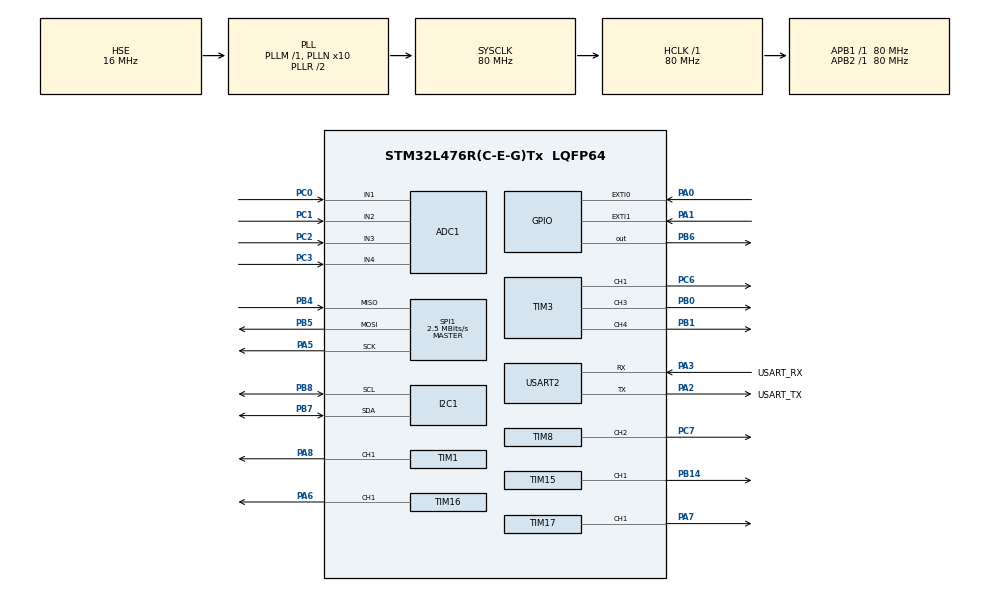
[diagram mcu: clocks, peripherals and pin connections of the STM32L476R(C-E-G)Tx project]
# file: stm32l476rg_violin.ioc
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Dma.ADC1.4.Priority=DMA_PRIORITY_LOW
VP_SYS_VS_tim6.Mode=TIM6
VP_TIM17_VS_ClockSourceINT.Mode=Enable_Timer
FATFS._USE_LFN=3
SPI1.VirtualType=VM_MASTER
NVIC.TIM6_DAC_IRQn=true\:0\:0\:false\:false\:true\:false\:false\:true
FREERTOS.Events01=xEmbeddedViolinEventGroup,Dynamic,NULL
PA3.GPIO_PuPd=GPIO_NOPULL
PC15-OSC32_OUT\ (PC15).Mode=LSE-External-Oscillator
PA3.GPIO_Speed=GPIO_SPEED_FREQ_VERY_HIGH
Dma.ADC1.4.PeriphInc=DMA_PINC_DISABLE
TIM3.Channel-PWM\ Generation4\ CH4=TIM_CHANNEL_4
RCC.SYSCLKSource=RCC_SYSCLKSOURCE_PLLCLK
PC14-OSC32_IN\ (PC14).Mode=LSE-External-Oscillator
NVIC.DMA1_Channel3_IRQn=true\:5\:0\:false\:false\:true\:true\:false\:true
PA14\ (JTCK-SWCLK).Signal=SYS_JTCK-SWCLK
NVIC.EXTI1_IRQn=true\:5\:0\:false\:false\:true\:true\:true\:true
ADC1.Channel-5\#ChannelRegularConversion=ADC_CHANNEL_4
SPI1.Direction=SPI_DIRECTION_2LINES
RCC.APB2TimFreq_Value=80000000
PB6.Signal=GPIO_Output
ADC1.Channel-2\#ChannelRegularConversion=ADC_CHANNEL_2
PC7.Signal=S_TIM8_CH2
SPI1.CalculateBaudRate=2.5 MBits/s
PC3.Signal=ADCx_IN4
Dma.ADC1.4.Instance=DMA1_Channel1
PA1.GPIO_PuPd=GPIO_PULLUP
RCC.PREFETCH_ENABLE=1
Dma.TIM8_CH2.3.MemInc=DMA_MINC_ENABLE
TIM17.Channel=TIM_CHANNEL_1
TIM1.Channel-PWM\ Generation1\ CH1=TIM_CHANNEL_1
Dma.TIM8_CH2.3.Direction=DMA_MEMORY_TO_PERIPH
Dma.TIM3_CH1/TRIG.0.Priority=DMA_PRIORITY_LOW
SPI1.DataSize=SPI_DATASIZE_8BIT
PA8.Signal=S_TIM1_CH1
PA0.Signal=GPXTI0
ADC1.OffsetNumber-5\#ChannelRegularConversion=ADC_OFFSET_NONE
Mcu.Package=LQFP64
Dma.TIM3_CH4/UP.2.MemDataAlignment=DMA_MDATAALIGN_HALFWORD
PB1.Signal=S_TIM3_CH4
NVIC.TimeBase=TIM6_DAC_IRQn
Dma.TIM3_CH4/UP.2.PeriphDataAlignment=DMA_PDATAALIGN_HALFWORD
NVIC.TimeBaseIP=TIM6
Dma.ADC1.4.MemInc=DMA_MINC_ENABLE
Dma.TIM8_CH2.3.Instance=DMA2_Channel7
RCC.APB1TimFreq_Value=80000000
TIM16.Prescaler=8 - 1
PA13\ (JTMS-SWDIO).Signal=SYS_JTMS-SWDIO
PH0-OSC_IN\ (PH0).Mode=HSE-External-Oscillator
TIM15.Channel-PWM\ Generation1\ CH1=TIM_CHANNEL_1
PA5.Mode=Full_Duplex_Master
PA2.GPIO_Mode=GPIO_MODE_AF_PP
NVIC.DMA1_Channel6_IRQn=true\:5\:0\:false\:false\:true\:true\:false\:true
FREERTOS.Tasks01=xMainMenuTask,24,256,StartMainMenuTask,Default,NULL,Dynamic,NULL,NULL;xPlayTickTask,26,128,StartPlayTickTask,Default,NULL,Dynamic,NULL,NULL;xPlayStateTask,25,256,StartPlayState,Default,NULL,Dynamic,NULL,NULL
Dma.TIM3_CH1/TRIG.0.PeriphInc=DMA_PINC_DISABLE
PC2.Signal=ADCx_IN3
PC6.Signal=S_TIM3_CH1
Dma.TIM3_CH1/TRIG.0.MemInc=DMA_MINC_ENABLE
SH.S_TIM16_CH1.0=TIM16_CH1,PWM Generation1 CH1
VP_TIM16_VS_ClockSourceINT.Mode=Enable_Timer
PC0.Signal=ADCx_IN1
SH.S_TIM8_CH2.0=TIM8_CH2,PWM Generation2 CH2
PA3.Mode=Asynchronous
TIM1.AutoReloadPreload=TIM_AUTORELOAD_PRELOAD_ENABLE
TIM3.Channel-PWM\ Generation3\ CH3=TIM_CHANNEL_3
I2C1.Timing=0x10909CEC
Dma.TIM8_CH2.3.MemDataAlignment=DMA_MDATAALIGN_HALFWORD
PB14.Signal=S_TIM15_CH1
PA5.Signal=SPI1_SCK
SH.S_TIM15_CH1.0=TIM15_CH1,PWM Generation1 CH1
SPI1.Mode=SPI_MODE_MASTER
PA0.GPIO_ModeDefaultEXTI=GPIO_MODE_IT_FALLING
Dma.TIM8_CH2.3.Priority=DMA_PRIORITY_LOW
SH.ADCx_IN4.0=ADC1_IN4,IN4-Single-Ended
Dma.ADC1.4.Mode=DMA_CIRCULAR
ADC1.DMAContinuousRequests=ENABLE
PB4\ (NJTRST).Mode=Full_Duplex_Master
Dma.ADC1.4.MemDataAlignment=DMA_MDATAALIGN_WORD
PA13\ (JTMS-SWDIO).Mode=Serial_Wire
ADC1.SamplingTime-1\#ChannelRegularConversion=ADC_SAMPLETIME_640CYCLES_5
PB5.Signal=SPI1_MOSI
ADC1.master=1
PB6.PinState=GPIO_PIN_SET
ADC1.Rank-1\#ChannelRegularConversion=1
ProjectManager.HeapSize=0x200
Dma.TIM8_CH2.3.Mode=DMA_NORMAL
ADC1.SamplingTime-5\#ChannelRegularConversion=ADC_SAMPLETIME_640CYCLES_5
Dma.TIM3_CH3.1.PeriphDataAlignment=DMA_PDATAALIGN_HALFWORD
SH.S_TIM17_CH1.0=TIM17_CH1,PWM Generation1 CH1
NVIC.PriorityGroup=NVIC_PRIORITYGROUP_4
Dma.TIM3_CH1/TRIG.0.Instance=DMA1_Channel6
PB8.Mode=I2C
NVIC.DMA1_Channel1_IRQn=true\:5\:0\:false\:false\:true\:true\:false\:true
PB6.GPIO_Speed=GPIO_SPEED_FREQ_MEDIUM
PB0.Signal=S_TIM3_CH3
Dma.TIM8_CH2.3.PeriphInc=DMA_PINC_DISABLE
ADC1.Rank-5\#ChannelRegularConversion=4
PC1.Signal=ADCx_IN2
Dma.TIM3_CH3.1.MemInc=DMA_MINC_ENABLE
Mcu.Family=STM32L4
PA2.GPIO_PuPd=GPIO_NOPULL
Dma.TIM3_CH4/UP.2.Mode=DMA_NORMAL
TIM17.Prescaler=8 - 1
RCC.CortexFreq_Value=80000000
Dma.TIM3_CH4/UP.2.Priority=DMA_PRIORITY_LOW
ADC1.Overrun=ADC_OVR_DATA_PRESERVED
Dma.TIM3_CH3.1.Priority=DMA_PRIORITY_LOW
ADC1.ContinuousConvMode=ENABLE
PH0-OSC_IN\ (PH0).Signal=RCC_OSC_IN
SH.ADCx_IN2.0=ADC1_IN2,IN2-Single-Ended
Dma.TIM3_CH1/TRIG.0.MemDataAlignment=DMA_MDATAALIGN_HALFWORD
PA2.GPIO_Speed=GPIO_SPEED_FREQ_VERY_HIGH
TIM1.OCFastMode_PWM-PWM\ Generation1\ CH1=TIM_OCFAST_DISABLE
ProjectManager.StackSize=0x400
PB3\ (JTDO-TRACESWO).Signal=SYS_JTDO-SWO
VP_FREERTOS_VS_CMSIS_V2.Mode=CMSIS_V2
Dma.TIM3_CH3.1.PeriphInc=DMA_PINC_DISABLE
TIM1.Prescaler=8 - 1
Dma.TIM3_CH4/UP.2.Instance=DMA1_Channel3
TIM15.Prescaler=8 - 1
ADC1.Channel-3\#ChannelRegularConversion=ADC_CHANNEL_3
RCC.HCLKFreq_Value=80000000
SH.ADCx_IN3.0=ADC1_IN3,IN3-Single-Ended
RCC.AHBFreq_Value=80000000
TIM3.Channel-PWM\ Generation1\ CH1=TIM_CHANNEL_1
PH1-OSC_OUT\ (PH1).Mode=HSE-External-Oscillator
RCC.HSE_VALUE=16000000
USART2.VirtualMode-Asynchronous=VM_ASYNC
ADC1.Rank-2\#ChannelRegularConversion=2
Dma.TIM3_CH1/TRIG.0.PeriphDataAlignment=DMA_PDATAALIGN_HALFWORD
PB5.Mode=Full_Duplex_Master
PB7.Signal=I2C1_SDA
SH.S_TIM3_CH1.0=TIM3_CH1,PWM Generation1 CH1
FREERTOS.configTOTAL_HEAP_SIZE=10000
TIM3.OCPolarity_1=TIM_OCPOLARITY_HIGH
Dma.TIM3_CH4/UP.2.MemInc=DMA_MINC_ENABLE
PA6.Signal=S_TIM16_CH1
PA0.GPIO_PuPd=GPIO_PULLUP
PA2.GPIO_Label=USART_TX
TIM8.Channel-PWM\ Generation2\ CH2=TIM_CHANNEL_2
ADC1.OffsetNumber-1\#ChannelRegularConversion=ADC_OFFSET_NONE
SH.ADCx_IN1.0=ADC1_IN1,IN1-Single-Ended
Dma.Request2=TIM3_CH4/UP
Dma.Request1=TIM3_CH3
Dma.Request4=ADC1
Dma.TIM8_CH2.3.PeriphDataAlignment=DMA_PDATAALIGN_HALFWORD
Dma.Request3=TIM8_CH2
Dma.Request0=TIM3_CH1/TRIG
SPI1.BaudRatePrescaler=SPI_BAUDRATEPRESCALER_32
PA1.GPIO_ModeDefaultEXTI=GPIO_MODE_IT_FALLING
PA3.Signal=USART2_RX
RCC.MSI_VALUE=4000000
RCC.PLLSourceVirtual=RCC_PLLSOURCE_HSE
PA14\ (JTCK-SWCLK).Mode=Serial_Wire
Dma.TIM3_CH3.1.Mode=DMA_NORMAL
ADC1.OffsetNumber-3\#ChannelRegularConversion=ADC_OFFSET_NONE
Dma.ADC1.4.PeriphDataAlignment=DMA_PDATAALIGN_WORD
Dma.TIM3_CH3.1.Direction=DMA_MEMORY_TO_PERIPH
PC15-OSC32_OUT\ (PC15).Signal=RCC_OSC32_OUT
PA14\ (JTCK-SWCLK).GPIO_Label=TCK
PB3\ (JTDO-TRACESWO).GPIO_Label=SWO
Dma.TIM3_CH4/UP.2.PeriphInc=DMA_PINC_DISABLE
SH.S_TIM3_CH3.0=TIM3_CH3,PWM Generation3 CH3
TIM16.Channel=TIM_CHANNEL_1
ADC1.SamplingTime-2\#ChannelRegularConversion=ADC_SAMPLETIME_640CYCLES_5
PH1-OSC_OUT\ (PH1).Signal=RCC_OSC_OUT
SH.S_TIM1_CH1.0=TIM1_CH1,PWM Generation1 CH1
NVIC.DMA1_Channel2_IRQn=true\:5\:0\:false\:false\:true\:true\:false\:true
ProjectManager.TargetToolchain=STM32CubeIDE
PA3.GPIO_Mode=GPIO_MODE_AF_PP
ADC1.Channel-1\#ChannelRegularConversion=ADC_CHANNEL_1
RCC.USBFreq_Value=64000000
PA1.Signal=GPXTI1
VP_FATFS_VS_Generic.Mode=User_defined
board=NUCLEO-L476RG
RCC.VCOOutputFreq_Value=160000000
Dma.TIM3_CH4/UP.2.Direction=DMA_MEMORY_TO_PERIPH
RCC.APB2Freq_Value=80000000
PA13\ (JTMS-SWDIO).GPIO_Label=TMS
RCC.ADCFreq_Value=64000000
Dma.TIM3_CH3.1.Instance=DMA1_Channel2
ADC1.NbrOfConversion=4
ADC1.OffsetNumber-2\#ChannelRegularConversion=ADC_OFFSET_NONE
Mcu.Name=STM32L476R(C-E-G)Tx
PA2.Signal=USART2_TX
FATFS._MAX_SS=4096
Dma.TIM3_CH1/TRIG.0.Mode=DMA_NORMAL
NVIC.EXTI0_IRQn=true\:5\:0\:false\:false\:true\:true\:true\:true
Dma.TIM3_CH3.1.MemDataAlignment=DMA_MDATAALIGN_HALFWORD
RCC.SYSCLKFreq_VALUE=80000000
ADC1.Rank-3\#ChannelRegularConversion=3
ADC1.SamplingTime-3\#ChannelRegularConversion=ADC_SAMPLETIME_640CYCLES_5
PC14-OSC32_IN\ (PC14).Signal=RCC_OSC32_IN
Dma.TIM3_CH1/TRIG.0.Direction=DMA_MEMORY_TO_PERIPH
PB7.Mode=I2C
NVIC.DMA2_Channel7_IRQn=true\:5\:0\:false\:false\:true\:true\:false\:true
Dma.ADC1.4.Direction=DMA_PERIPH_TO_MEMORY
RCC.HSI_VALUE=16000000
ADC1.NbrOfConversionFlag=1
RCC.PLLN=10
PB8.Signal=I2C1_SCL
PA2.Mode=Asynchronous
RCC.APB1Freq_Value=80000000
SH.S_TIM3_CH4.0=TIM3_CH4,PWM Generation4 CH4
PA3.GPIO_Label=USART_RX
PA7.Signal=S_TIM17_CH1
PB4\ (NJTRST).Signal=SPI1_MISO

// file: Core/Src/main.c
/* USER CODE BEGIN Header */
/**
  ******************************************************************************
  * @file           : main.c
  * @brief          : Main program body
  ******************************************************************************
  * @attention
  *
  * <h2><center>&copy; Copyright (c) 2021 STMicroelectronics.
  * All rights reserved.</center></h2>
  *
  * This software component is licensed by ST under BSD 3-Clause license,
  * the "License"; You may not use this file except in compliance with the
  * License. You may obtain a copy of the License at:
  *                        opensource.org/licenses/BSD-3-Clause
  *
  ******************************************************************************
  */
/* USER CODE END Header */
#include "main.h"
#include "cmsis_os.h"
#include "fatfs.h"

/* USER CODE BEGIN Includes */
#include <stdio.h>
#include <string.h>
#include "fatfs_sd.h"
#include "piece.h"
//#include "ws2812b.h"
/* USER CODE END Includes */

/* USER CODE BEGIN PD */
#ifdef __GNUC__
	#define PUTCHAR_PROTOTYPE int __io_putchar(int ch)
#else
	#define PUTCHAR_PROTOTYPE int fputc(int ch, FILE *f)
#endif /* __GNUC__ */

#define G3 5102
#define GS3 4816
#define AF3 4816
#define A3 4545
#define AS3 4290
#define BF3 4290
#define B3 4050
#define C4 3822
#define CS4 3608
#define DF4 3608
#define D4 3405
#define DS4 3214
#define EF4 3214
#define E4 3034
#define F4 2863
#define FS4 2703
#define GF4 2703
#define G4 2551
#define GS4 2408
#define AF4 2408
#define A4 2273
#define AS4 2145
#define BF4 2145
#define B4 2025
#define C5 1911
#define CS5 1804
#define DF5 1804
#define D5 1703
#define DS5 1607
#define EF5 1607
#define E5 1517
#define F5 1432
#define FS5 1351
#define GF5 1351
#define G5 1276
#define GS5 1204
#define AF5 1204
#define A5 1136
#define AS5 1073
#define BF5 1073
#define B5 1012
#define C6 956
#define CS6 902
#define DF6 902
#define D6 851
#define DS6 804
#define EF6 804
#define E6 758
#define F6 716
#define FS6 676
#define GF6 676
#define G6 638
#define GS6 602
#define AF6 602
#define A6 568
#define AS6 536
#define BF6 536
#define B6 506
#define C7 478
#define CS7 451
#define DF7 451
#define D7 426
#define DS7 402
#define EF7 402
#define E7 379
#define F7 358
#define FS7 338
#define GF7 338
#define G7 319
#define GS7 301
#define AF7 301
#define A7 284
#define R 0

#define S 250
#define E 400
#define DE 600
#define Q 800
#define DQ 1200

#define EB_MAIN_MENU (1UL << 0UL)
#define EB_PLAY_STATE (1UL << 1UL)
#define EB_PLAY_TICK (1UL << 2UL)

#define EB_ERROR (1UL << 31UL)

/* USER CODE END PD */

ADC_HandleTypeDef hadc1;
DMA_HandleTypeDef hdma_adc1;

I2C_HandleTypeDef hi2c1;

SPI_HandleTypeDef hspi1;

TIM_HandleTypeDef htim1;
TIM_HandleTypeDef htim3;
TIM_HandleTypeDef htim8;
TIM_HandleTypeDef htim15;
TIM_HandleTypeDef htim16;
TIM_HandleTypeDef htim17;
DMA_HandleTypeDef hdma_tim3_ch1_trig;
DMA_HandleTypeDef hdma_tim3_ch3;
DMA_HandleTypeDef hdma_tim3_ch4_up;
DMA_HandleTypeDef hdma_tim8_ch2;

UART_HandleTypeDef huart2;

/* Definitions for xMainMenuTask */
osThreadId_t xMainMenuTaskHandle;
const osThreadAttr_t xMainMenuTask_attributes = {
  .name = "xMainMenuTask",
  .stack_size = 256 * 4,
  .priority = (osPriority_t) osPriorityNormal,
};
/* Definitions for xPlayTickTask */
osThreadId_t xPlayTickTaskHandle;
const osThreadAttr_t xPlayTickTask_attributes = {
  .name = "xPlayTickTask",
  .stack_size = 128 * 4,
  .priority = (osPriority_t) osPriorityNormal2,
};
/* Definitions for xPlayStateTask */
osThreadId_t xPlayStateTaskHandle;
const osThreadAttr_t xPlayStateTask_attributes = {
  .name = "xPlayStateTask",
  .stack_size = 256 * 4,
  .priority = (osPriority_t) osPriorityNormal1,
};
/* Definitions for xEmbeddedViolinEventGroup */
osEventFlagsId_t xEmbeddedViolinEventGroupHandle;
const osEventFlagsAttr_t xEmbeddedViolinEventGroup_attributes = {
  .name = "xEmbeddedViolinEventGroup"
};
/* USER CODE BEGIN PV */
WS2812BHandle_t xWS2812B;
/* USER CODE END PV */

void SystemClock_Config(void);
static void MX_GPIO_Init(void);
static void MX_DMA_Init(void);
static void MX_USART2_UART_Init(void);
static void MX_ADC1_Init(void);
static void MX_TIM1_Init(void);
static void MX_SPI1_Init(void);
static void MX_TIM15_Init(void);
static void MX_TIM16_Init(void);
static void MX_TIM17_Init(void);
static void MX_I2C1_Init(void);
static void MX_TIM3_Init(void);
static void MX_TIM8_Init(void);
void StartMainMenuTask(void *argument);
void StartPlayTickTask(void *argument);
void StartPlayState(void *argument);

/* USER CODE BEGIN 0 */
PUTCHAR_PROTOTYPE
{
	HAL_UART_Transmit(&huart2, (uint8_t *)&ch, 1, pdMS_TO_TICKS(100));
	return ch;
}

void transmit_uart(char *string) {
	uint8_t len = strlen(string);
	HAL_UART_Transmit(&huart2, (uint8_t*) string, len, pdMS_TO_TICKS(100));
}

FATFS fs;
FATFS *pfs;
FIL fil;
FRESULT fres;
DWORD fre_clust;
uint32_t totalSpace, freeSpace;
char buffer[100];

PieceHandle_t xPiece;

volatile int32_t running = 0;
TickType_t xSynchWakeTime;

// ADC
#define ADC_CHANNEL_COUNT 4UL
volatile uint32_t adcValue[ADC_CHANNEL_COUNT];

/*
void HAL_ADC_ConvHalfCpltCallback(ADC_HandleTypeDef* hadc)
{
	printf("HALF_DONE\r\n");
}

void HAL_ADC_ConvCpltCallback(ADC_HandleTypeDef* hadc)
{
	printf("DONE\r\n");
	HAL_ADC_Stop_DMA(&hadc1);
}
*/

/* USER CODE END 0 */

int main(void)
{

  /* MCU Configuration--------------------------------------------------------*/

  /* Reset of all peripherals, Initializes the Flash interface and the Systick. */
  HAL_Init();

  /* Configure the system clock */
  SystemClock_Config();

  /* Initialize all configured peripherals */
  MX_GPIO_Init();
  MX_DMA_Init();
  MX_USART2_UART_Init();
  MX_ADC1_Init();
  MX_TIM1_Init();
  MX_FATFS_Init();
  MX_SPI1_Init();
  MX_TIM15_Init();
  MX_TIM16_Init();
  MX_TIM17_Init();
  MX_I2C1_Init();
  MX_TIM3_Init();
  MX_TIM8_Init();
  /* USER CODE BEGIN 2 */
  WS2812B_vInit(&xWS2812B, &htim3, &htim8, &hdma_tim3_ch1_trig, &hdma_tim3_ch3, &hdma_tim3_ch4_up, &hdma_tim8_ch2);

	//[!] Care for HAL_ADC_START_DMA sampling too fast due to small array for DMA (ex: 4 instead of 400. Reduce sampling time of ADC if such case or filter more samples)
  HAL_ADC_Start_DMA(&hadc1, adcValue, ADC_CHANNEL_COUNT);

  //HAL_TIM_PWM_Start_IT(&htim1, TIM_CHANNEL_1);
  //HAL_TIM_PWM_Start_IT(&htim15, TIM_CHANNEL_1);

  /* USER CODE END 2 */

  /* Init scheduler */
  osKernelInitialize();

  /* Create the thread(s) */
  /* creation of xMainMenuTask */
  xMainMenuTaskHandle = osThreadNew(StartMainMenuTask, NULL, &xMainMenuTask_attributes);

  /* creation of xPlayTickTask */
  xPlayTickTaskHandle = osThreadNew(StartPlayTickTask, NULL, &xPlayTickTask_attributes);

  /* creation of xPlayStateTask */
  xPlayStateTaskHandle = osThreadNew(StartPlayState, NULL, &xPlayStateTask_attributes);

  /* Create the event(s) */
  /* creation of xEmbeddedViolinEventGroup */
  xEmbeddedViolinEventGroupHandle = osEventFlagsNew(&xEmbeddedViolinEventGroup_attributes);

  /* Start scheduler */
  osKernelStart();

  /* We should never get here as control is now taken by the scheduler */
  /* Infinite loop */
  while (1)
  {

  }
}

void SystemClock_Config(void)
{
  RCC_OscInitTypeDef RCC_OscInitStruct = {0};
  RCC_ClkInitTypeDef RCC_ClkInitStruct = {0};
  RCC_PeriphCLKInitTypeDef PeriphClkInit = {0};

  /** Initializes the RCC Oscillators according to the specified parameters
  * in the RCC_OscInitTypeDef structure.
  */
  RCC_OscInitStruct.OscillatorType = RCC_OSCILLATORTYPE_HSE;
  RCC_OscInitStruct.HSEState = RCC_HSE_ON;
  RCC_OscInitStruct.PLL.PLLState = RCC_PLL_ON;
  RCC_OscInitStruct.PLL.PLLSource = RCC_PLLSOURCE_HSE;
  RCC_OscInitStruct.PLL.PLLM = 1;
  RCC_OscInitStruct.PLL.PLLN = 10;
  RCC_OscInitStruct.PLL.PLLP = RCC_PLLP_DIV7;
  RCC_OscInitStruct.PLL.PLLQ = RCC_PLLQ_DIV2;
  RCC_OscInitStruct.PLL.PLLR = RCC_PLLR_DIV2;
  if (HAL_RCC_OscConfig(&RCC_OscInitStruct) != HAL_OK)
  {
    Error_Handler();
  }
  /** Initializes the CPU, AHB and APB buses clocks
  */
  RCC_ClkInitStruct.ClockType = RCC_CLOCKTYPE_HCLK|RCC_CLOCKTYPE_SYSCLK
                              |RCC_CLOCKTYPE_PCLK1|RCC_CLOCKTYPE_PCLK2;
  RCC_ClkInitStruct.SYSCLKSource = RCC_SYSCLKSOURCE_PLLCLK;
  RCC_ClkInitStruct.AHBCLKDivider = RCC_SYSCLK_DIV1;
  RCC_ClkInitStruct.APB1CLKDivider = RCC_HCLK_DIV1;
  RCC_ClkInitStruct.APB2CLKDivider = RCC_HCLK_DIV1;

  if (HAL_RCC_ClockConfig(&RCC_ClkInitStruct, FLASH_LATENCY_4) != HAL_OK)
  {
    Error_Handler();
  }
  PeriphClkInit.PeriphClockSelection = RCC_PERIPHCLK_USART2|RCC_PERIPHCLK_I2C1
                              |RCC_PERIPHCLK_ADC;
  PeriphClkInit.Usart2ClockSelection = RCC_USART2CLKSOURCE_PCLK1;
  PeriphClkInit.I2c1ClockSelection = RCC_I2C1CLKSOURCE_PCLK1;
  PeriphClkInit.AdcClockSelection = RCC_ADCCLKSOURCE_PLLSAI1;
  PeriphClkInit.PLLSAI1.PLLSAI1Source = RCC_PLLSOURCE_HSE;
  PeriphClkInit.PLLSAI1.PLLSAI1M = 1;
  PeriphClkInit.PLLSAI1.PLLSAI1N = 8;
  PeriphClkInit.PLLSAI1.PLLSAI1P = RCC_PLLP_DIV7;
  PeriphClkInit.PLLSAI1.PLLSAI1Q = RCC_PLLQ_DIV2;
  PeriphClkInit.PLLSAI1.PLLSAI1R = RCC_PLLR_DIV2;
  PeriphClkInit.PLLSAI1.PLLSAI1ClockOut = RCC_PLLSAI1_ADC1CLK;
  if (HAL_RCCEx_PeriphCLKConfig(&PeriphClkInit) != HAL_OK)
  {
    Error_Handler();
  }
  /** Configure the main internal regulator output voltage
  */
  if (HAL_PWREx_ControlVoltageScaling(PWR_REGULATOR_VOLTAGE_SCALE1) != HAL_OK)
  {
    Error_Handler();
  }
}

static void MX_ADC1_Init(void)
{

  ADC_MultiModeTypeDef multimode = {0};
  ADC_ChannelConfTypeDef sConfig = {0};

  /** Common config
  */
  hadc1.Instance = ADC1;
  hadc1.Init.ClockPrescaler = ADC_CLOCK_ASYNC_DIV1;
  hadc1.Init.Resolution = ADC_RESOLUTION_12B;
  hadc1.Init.DataAlign = ADC_DATAALIGN_RIGHT;
  hadc1.Init.ScanConvMode = ADC_SCAN_ENABLE;
  hadc1.Init.EOCSelection = ADC_EOC_SINGLE_CONV;
  hadc1.Init.LowPowerAutoWait = DISABLE;
  hadc1.Init.ContinuousConvMode = ENABLE;
  hadc1.Init.NbrOfConversion = 4;
  hadc1.Init.DiscontinuousConvMode = DISABLE;
  hadc1.Init.ExternalTrigConv = ADC_SOFTWARE_START;
  hadc1.Init.ExternalTrigConvEdge = ADC_EXTERNALTRIGCONVEDGE_NONE;
  hadc1.Init.DMAContinuousRequests = ENABLE;
  hadc1.Init.Overrun = ADC_OVR_DATA_PRESERVED;
  hadc1.Init.OversamplingMode = DISABLE;
  if (HAL_ADC_Init(&hadc1) != HAL_OK)
  {
    Error_Handler();
  }
  /** Configure the ADC multi-mode
  */
  multimode.Mode = ADC_MODE_INDEPENDENT;
  if (HAL_ADCEx_MultiModeConfigChannel(&hadc1, &multimode) != HAL_OK)
  {
    Error_Handler();
  }
  /** Configure Regular Channel
  */
  sConfig.Channel = ADC_CHANNEL_1;
  sConfig.Rank = ADC_REGULAR_RANK_1;
  sConfig.SamplingTime = ADC_SAMPLETIME_640CYCLES_5;
  sConfig.SingleDiff = ADC_SINGLE_ENDED;
  sConfig.OffsetNumber = ADC_OFFSET_NONE;
  sConfig.Offset = 0;
  if (HAL_ADC_ConfigChannel(&hadc1, &sConfig) != HAL_OK)
  {
    Error_Handler();
  }
  /** Configure Regular Channel
  */
  sConfig.Channel = ADC_CHANNEL_2;
  sConfig.Rank = ADC_REGULAR_RANK_2;
  if (HAL_ADC_ConfigChannel(&hadc1, &sConfig) != HAL_OK)
  {
    Error_Handler();
  }
  /** Configure Regular Channel
  */
  sConfig.Channel = ADC_CHANNEL_3;
  sConfig.Rank = ADC_REGULAR_RANK_3;
  if (HAL_ADC_ConfigChannel(&hadc1, &sConfig) != HAL_OK)
  {
    Error_Handler();
  }
  /** Configure Regular Channel
  */
  sConfig.Channel = ADC_CHANNEL_4;
  sConfig.Rank = ADC_REGULAR_RANK_4;
  if (HAL_ADC_ConfigChannel(&hadc1, &sConfig) != HAL_OK)
  {
    Error_Handler();
  }

}

static void MX_I2C1_Init(void)
{

  hi2c1.Instance = I2C1;
  hi2c1.Init.Timing = 0x10909CEC;
  hi2c1.Init.OwnAddress1 = 0;
  hi2c1.Init.AddressingMode = I2C_ADDRESSINGMODE_7BIT;
  hi2c1.Init.DualAddressMode = I2C_DUALADDRESS_DISABLE;
  hi2c1.Init.OwnAddress2 = 0;
  hi2c1.Init.OwnAddress2Masks = I2C_OA2_NOMASK;
  hi2c1.Init.GeneralCallMode = I2C_GENERALCALL_DISABLE;
  hi2c1.Init.NoStretchMode = I2C_NOSTRETCH_DISABLE;
  if (HAL_I2C_Init(&hi2c1) != HAL_OK)
  {
    Error_Handler();
  }
  /** Configure Analogue filter
  */
  if (HAL_I2CEx_ConfigAnalogFilter(&hi2c1, I2C_ANALOGFILTER_ENABLE) != HAL_OK)
  {
    Error_Handler();
  }
  /** Configure Digital filter
  */
  if (HAL_I2CEx_ConfigDigitalFilter(&hi2c1, 0) != HAL_OK)
  {
    Error_Handler();
  }

}

static void MX_SPI1_Init(void)
{

  /* SPI1 parameter configuration*/
  hspi1.Instance = SPI1;
  hspi1.Init.Mode = SPI_MODE_MASTER;
  hspi1.Init.Direction = SPI_DIRECTION_2LINES;
  hspi1.Init.DataSize = SPI_DATASIZE_8BIT;
  hspi1.Init.CLKPolarity = SPI_POLARITY_LOW;
  hspi1.Init.CLKPhase = SPI_PHASE_1EDGE;
  hspi1.Init.NSS = SPI_NSS_SOFT;
  hspi1.Init.BaudRatePrescaler = SPI_BAUDRATEPRESCALER_32;
  hspi1.Init.FirstBit = SPI_FIRSTBIT_MSB;
  hspi1.Init.TIMode = SPI_TIMODE_DISABLE;
  hspi1.Init.CRCCalculation = SPI_CRCCALCULATION_DISABLE;
  hspi1.Init.CRCPolynomial = 7;
  hspi1.Init.CRCLength = SPI_CRC_LENGTH_DATASIZE;
  hspi1.Init.NSSPMode = SPI_NSS_PULSE_ENABLE;
  if (HAL_SPI_Init(&hspi1) != HAL_OK)
  {
    Error_Handler();
  }

}

static void MX_TIM1_Init(void)
{

  TIM_MasterConfigTypeDef sMasterConfig = {0};
  TIM_OC_InitTypeDef sConfigOC = {0};
  TIM_BreakDeadTimeConfigTypeDef sBreakDeadTimeConfig = {0};

  htim1.Instance = TIM1;
  htim1.Init.Prescaler = 8 - 1;
  htim1.Init.CounterMode = TIM_COUNTERMODE_UP;
  htim1.Init.Period = 65535;
  htim1.Init.ClockDivision = TIM_CLOCKDIVISION_DIV1;
  htim1.Init.RepetitionCounter = 0;
  htim1.Init.AutoReloadPreload = TIM_AUTORELOAD_PRELOAD_ENABLE;
  if (HAL_TIM_PWM_Init(&htim1) != HAL_OK)
  {
    Error_Handler();
  }
  sMasterConfig.MasterOutputTrigger = TIM_TRGO_RESET;
  sMasterConfig.MasterOutputTrigger2 = TIM_TRGO2_RESET;
  sMasterConfig.MasterSlaveMode = TIM_MASTERSLAVEMODE_DISABLE;
  if (HAL_TIMEx_MasterConfigSynchronization(&htim1, &sMasterConfig) != HAL_OK)
  {
    Error_Handler();
  }
  sConfigOC.OCMode = TIM_OCMODE_PWM1;
  sConfigOC.Pulse = 0;
  sConfigOC.OCPolarity = TIM_OCPOLARITY_HIGH;
  sConfigOC.OCNPolarity = TIM_OCNPOLARITY_HIGH;
  sConfigOC.OCFastMode = TIM_OCFAST_DISABLE;
  sConfigOC.OCIdleState = TIM_OCIDLESTATE_RESET;
  sConfigOC.OCNIdleState = TIM_OCNIDLESTATE_RESET;
  if (HAL_TIM_PWM_ConfigChannel(&htim1, &sConfigOC, TIM_CHANNEL_1) != HAL_OK)
  {
    Error_Handler();
  }
  sBreakDeadTimeConfig.OffStateRunMode = TIM_OSSR_DISABLE;
  sBreakDeadTimeConfig.OffStateIDLEMode = TIM_OSSI_DISABLE;
  sBreakDeadTimeConfig.LockLevel = TIM_LOCKLEVEL_OFF;
  sBreakDeadTimeConfig.DeadTime = 0;
  sBreakDeadTimeConfig.BreakState = TIM_BREAK_DISABLE;
  sBreakDeadTimeConfig.BreakPolarity = TIM_BREAKPOLARITY_HIGH;
  sBreakDeadTimeConfig.BreakFilter = 0;
  sBreakDeadTimeConfig.Break2State = TIM_BREAK2_DISABLE;
  sBreakDeadTimeConfig.Break2Polarity = TIM_BREAK2POLARITY_HIGH;
  sBreakDeadTimeConfig.Break2Filter = 0;
  sBreakDeadTimeConfig.AutomaticOutput = TIM_AUTOMATICOUTPUT_DISABLE;
  if (HAL_TIMEx_ConfigBreakDeadTime(&htim1, &sBreakDeadTimeConfig) != HAL_OK)
  {
    Error_Handler();
  }
  HAL_TIM_MspPostInit(&htim1);

}

static void MX_TIM3_Init(void)
{

  TIM_MasterConfigTypeDef sMasterConfig = {0};
  TIM_OC_InitTypeDef sConfigOC = {0};

  htim3.Instance = TIM3;
  htim3.Init.Prescaler = 0;
  htim3.Init.CounterMode = TIM_COUNTERMODE_UP;
  htim3.Init.Period = 65535;
  htim3.Init.ClockDivision = TIM_CLOCKDIVISION_DIV1;
  htim3.Init.AutoReloadPreload = TIM_AUTORELOAD_PRELOAD_DISABLE;
  if (HAL_TIM_PWM_Init(&htim3) != HAL_OK)
  {
    Error_Handler();
  }
  sMasterConfig.MasterOutputTrigger = TIM_TRGO_RESET;
  sMasterConfig.MasterSlaveMode = TIM_MASTERSLAVEMODE_DISABLE;
  if (HAL_TIMEx_MasterConfigSynchronization(&htim3, &sMasterConfig) != HAL_OK)
  {
    Error_Handler();
  }
  sConfigOC.OCMode = TIM_OCMODE_PWM1;
  sConfigOC.Pulse = 0;
  sConfigOC.OCPolarity = TIM_OCPOLARITY_HIGH;
  sConfigOC.OCFastMode = TIM_OCFAST_DISABLE;
  if (HAL_TIM_PWM_ConfigChannel(&htim3, &sConfigOC, TIM_CHANNEL_1) != HAL_OK)
  {
    Error_Handler();
  }
  if (HAL_TIM_PWM_ConfigChannel(&htim3, &sConfigOC, TIM_CHANNEL_3) != HAL_OK)
  {
    Error_Handler();
  }
  if (HAL_TIM_PWM_ConfigChannel(&htim3, &sConfigOC, TIM_CHANNEL_4) != HAL_OK)
  {
    Error_Handler();
  }
  HAL_TIM_MspPostInit(&htim3);

}

static void MX_TIM8_Init(void)
{

  TIM_MasterConfigTypeDef sMasterConfig = {0};
  TIM_OC_InitTypeDef sConfigOC = {0};
  TIM_BreakDeadTimeConfigTypeDef sBreakDeadTimeConfig = {0};

  htim8.Instance = TIM8;
  htim8.Init.Prescaler = 0;
  htim8.Init.CounterMode = TIM_COUNTERMODE_UP;
  htim8.Init.Period = 65535;
  htim8.Init.ClockDivision = TIM_CLOCKDIVISION_DIV1;
  htim8.Init.RepetitionCounter = 0;
  htim8.Init.AutoReloadPreload = TIM_AUTORELOAD_PRELOAD_DISABLE;
  if (HAL_TIM_PWM_Init(&htim8) != HAL_OK)
  {
    Error_Handler();
  }
  sMasterConfig.MasterOutputTrigger = TIM_TRGO_RESET;
  sMasterConfig.MasterOutputTrigger2 = TIM_TRGO2_RESET;
  sMasterConfig.MasterSlaveMode = TIM_MASTERSLAVEMODE_DISABLE;
  if (HAL_TIMEx_MasterConfigSynchronization(&htim8, &sMasterConfig) != HAL_OK)
  {
    Error_Handler();
  }
  sConfigOC.OCMode = TIM_OCMODE_PWM1;
  sConfigOC.Pulse = 0;
  sConfigOC.OCPolarity = TIM_OCPOLARITY_HIGH;
  sConfigOC.OCNPolarity = TIM_OCNPOLARITY_HIGH;
  sConfigOC.OCFastMode = TIM_OCFAST_DISABLE;
  sConfigOC.OCIdleState = TIM_OCIDLESTATE_RESET;
  sConfigOC.OCNIdleState = TIM_OCNIDLESTATE_RESET;
  if (HAL_TIM_PWM_ConfigChannel(&htim8, &sConfigOC, TIM_CHANNEL_2) != HAL_OK)
  {
    Error_Handler();
  }
  sBreakDeadTimeConfig.OffStateRunMode = TIM_OSSR_DISABLE;
  sBreakDeadTimeConfig.OffStateIDLEMode = TIM_OSSI_DISABLE;
  sBreakDeadTimeConfig.LockLevel = TIM_LOCKLEVEL_OFF;
  sBreakDeadTimeConfig.DeadTime = 0;
  sBreakDeadTimeConfig.BreakState = TIM_BREAK_DISABLE;
  sBreakDeadTimeConfig.BreakPolarity = TIM_BREAKPOLARITY_HIGH;
  sBreakDeadTimeConfig.BreakFilter = 0;
  sBreakDeadTimeConfig.Break2State = TIM_BREAK2_DISABLE;
  sBreakDeadTimeConfig.Break2Polarity = TIM_BREAK2POLARITY_HIGH;
  sBreakDeadTimeConfig.Break2Filter = 0;
  sBreakDeadTimeConfig.AutomaticOutput = TIM_AUTOMATICOUTPUT_DISABLE;
  if (HAL_TIMEx_ConfigBreakDeadTime(&htim8, &sBreakDeadTimeConfig) != HAL_OK)
  {
    Error_Handler();
  }
  HAL_TIM_MspPostInit(&htim8);

}

static void MX_TIM15_Init(void)
{

  TIM_MasterConfigTypeDef sMasterConfig = {0};
  TIM_OC_InitTypeDef sConfigOC = {0};
  TIM_BreakDeadTimeConfigTypeDef sBreakDeadTimeConfig = {0};

  htim15.Instance = TIM15;
  htim15.Init.Prescaler = 8 - 1;
  htim15.Init.CounterMode = TIM_COUNTERMODE_UP;
  htim15.Init.Period = 65535;
  htim15.Init.ClockDivision = TIM_CLOCKDIVISION_DIV1;
  htim15.Init.RepetitionCounter = 0;
  htim15.Init.AutoReloadPreload = TIM_AUTORELOAD_PRELOAD_DISABLE;
  if (HAL_TIM_PWM_Init(&htim15) != HAL_OK)
  {
    Error_Handler();
  }
  sMasterConfig.MasterOutputTrigger = TIM_TRGO_RESET;
  sMasterConfig.MasterSlaveMode = TIM_MASTERSLAVEMODE_DISABLE;
  if (HAL_TIMEx_MasterConfigSynchronization(&htim15, &sMasterConfig) != HAL_OK)
  {
    Error_Handler();
  }
  sConfigOC.OCMode = TIM_OCMODE_PWM1;
  sConfigOC.Pulse = 0;
  sConfigOC.OCPolarity = TIM_OCPOLARITY_HIGH;
  sConfigOC.OCNPolarity = TIM_OCNPOLARITY_HIGH;
  sConfigOC.OCFastMode = TIM_OCFAST_DISABLE;
  sConfigOC.OCIdleState = TIM_OCIDLESTATE_RESET;
  sConfigOC.OCNIdleState = TIM_OCNIDLESTATE_RESET;
  if (HAL_TIM_PWM_ConfigChannel(&htim15, &sConfigOC, TIM_CHANNEL_1) != HAL_OK)
  {
    Error_Handler();
  }
  sBreakDeadTimeConfig.OffStateRunMode = TIM_OSSR_DISABLE;
  sBreakDeadTimeConfig.OffStateIDLEMode = TIM_OSSI_DISABLE;
  sBreakDeadTimeConfig.LockLevel = TIM_LOCKLEVEL_OFF;
  sBreakDeadTimeConfig.DeadTime = 0;
  sBreakDeadTimeConfig.BreakState = TIM_BREAK_DISABLE;
  sBreakDeadTimeConfig.BreakPolarity = TIM_BREAKPOLARITY_HIGH;
  sBreakDeadTimeConfig.AutomaticOutput = TIM_AUTOMATICOUTPUT_DISABLE;
  if (HAL_TIMEx_ConfigBreakDeadTime(&htim15, &sBreakDeadTimeConfig) != HAL_OK)
  {
    Error_Handler();
  }
  HAL_TIM_MspPostInit(&htim15);

}

static void MX_TIM16_Init(void)
{

  TIM_OC_InitTypeDef sConfigOC = {0};
  TIM_BreakDeadTimeConfigTypeDef sBreakDeadTimeConfig = {0};

  htim16.Instance = TIM16;
  htim16.Init.Prescaler = 8 - 1;
  htim16.Init.CounterMode = TIM_COUNTERMODE_UP;
  htim16.Init.Period = 65535;
  htim16.Init.ClockDivision = TIM_CLOCKDIVISION_DIV1;
  htim16.Init.RepetitionCounter = 0;
  htim16.Init.AutoReloadPreload = TIM_AUTORELOAD_PRELOAD_DISABLE;
  if (HAL_TIM_Base_Init(&htim16) != HAL_OK)
  {
    Error_Handler();
  }
  if (HAL_TIM_PWM_Init(&htim16) != HAL_OK)
  {
    Error_Handler();
  }
  sConfigOC.OCMode = TIM_OCMODE_PWM1;
  sConfigOC.Pulse = 0;
  sConfigOC.OCPolarity = TIM_OCPOLARITY_HIGH;
  sConfigOC.OCNPolarity = TIM_OCNPOLARITY_HIGH;
  sConfigOC.OCFastMode = TIM_OCFAST_DISABLE;
  sConfigOC.OCIdleState = TIM_OCIDLESTATE_RESET;
  sConfigOC.OCNIdleState = TIM_OCNIDLESTATE_RESET;
  if (HAL_TIM_PWM_ConfigChannel(&htim16, &sConfigOC, TIM_CHANNEL_1) != HAL_OK)
  {
    Error_Handler();
  }
  sBreakDeadTimeConfig.OffStateRunMode = TIM_OSSR_DISABLE;
  sBreakDeadTimeConfig.OffStateIDLEMode = TIM_OSSI_DISABLE;
  sBreakDeadTimeConfig.LockLevel = TIM_LOCKLEVEL_OFF;
  sBreakDeadTimeConfig.DeadTime = 0;
  sBreakDeadTimeConfig.BreakState = TIM_BREAK_DISABLE;
  sBreakDeadTimeConfig.BreakPolarity = TIM_BREAKPOLARITY_HIGH;
  sBreakDeadTimeConfig.AutomaticOutput = TIM_AUTOMATICOUTPUT_DISABLE;
  if (HAL_TIMEx_ConfigBreakDeadTime(&htim16, &sBreakDeadTimeConfig) != HAL_OK)
  {
    Error_Handler();
  }
  HAL_TIM_MspPostInit(&htim16);

}

static void MX_TIM17_Init(void)
{

  TIM_OC_InitTypeDef sConfigOC = {0};
  TIM_BreakDeadTimeConfigTypeDef sBreakDeadTimeConfig = {0};

  htim17.Instance = TIM17;
  htim17.Init.Prescaler = 8 - 1;
  htim17.Init.CounterMode = TIM_COUNTERMODE_UP;
  htim17.Init.Period = 65535;
  htim17.Init.ClockDivision = TIM_CLOCKDIVISION_DIV1;
  htim17.Init.RepetitionCounter = 0;
  htim17.Init.AutoReloadPreload = TIM_AUTORELOAD_PRELOAD_DISABLE;
  if (HAL_TIM_Base_Init(&htim17) != HAL_OK)
  {
    Error_Handler();
  }
  if (HAL_TIM_PWM_Init(&htim17) != HAL_OK)
  {
    Error_Handler();
  }
  sConfigOC.OCMode = TIM_OCMODE_PWM1;
  sConfigOC.Pulse = 0;
  sConfigOC.OCPolarity = TIM_OCPOLARITY_HIGH;
  sConfigOC.OCNPolarity = TIM_OCNPOLARITY_HIGH;
  sConfigOC.OCFastMode = TIM_OCFAST_DISABLE;
  sConfigOC.OCIdleState = TIM_OCIDLESTATE_RESET;
  sConfigOC.OCNIdleState = TIM_OCNIDLESTATE_RESET;
  if (HAL_TIM_PWM_ConfigChannel(&htim17, &sConfigOC, TIM_CHANNEL_1) != HAL_OK)
  {
    Error_Handler();
  }
  sBreakDeadTimeConfig.OffStateRunMode = TIM_OSSR_DISABLE;
  sBreakDeadTimeConfig.OffStateIDLEMode = TIM_OSSI_DISABLE;
  sBreakDeadTimeConfig.LockLevel = TIM_LOCKLEVEL_OFF;
  sBreakDeadTimeConfig.DeadTime = 0;
  sBreakDeadTimeConfig.BreakState = TIM_BREAK_DISABLE;
  sBreakDeadTimeConfig.BreakPolarity = TIM_BREAKPOLARITY_HIGH;
  sBreakDeadTimeConfig.AutomaticOutput = TIM_AUTOMATICOUTPUT_DISABLE;
  if (HAL_TIMEx_ConfigBreakDeadTime(&htim17, &sBreakDeadTimeConfig) != HAL_OK)
  {
    Error_Handler();
  }
  HAL_TIM_MspPostInit(&htim17);

}

static void MX_USART2_UART_Init(void)
{

  huart2.Instance = USART2;
  huart2.Init.BaudRate = 115200;
  huart2.Init.WordLength = UART_WORDLENGTH_8B;
  huart2.Init.StopBits = UART_STOPBITS_1;
  huart2.Init.Parity = UART_PARITY_NONE;
  huart2.Init.Mode = UART_MODE_TX_RX;
  huart2.Init.HwFlowCtl = UART_HWCONTROL_NONE;
  huart2.Init.OverSampling = UART_OVERSAMPLING_16;
  huart2.Init.OneBitSampling = UART_ONE_BIT_SAMPLE_DISABLE;
  huart2.AdvancedInit.AdvFeatureInit = UART_ADVFEATURE_NO_INIT;
  if (HAL_UART_Init(&huart2) != HAL_OK)
  {
    Error_Handler();
  }

}

static void MX_DMA_Init(void)
{

  /* DMA controller clock enable */
  __HAL_RCC_DMA1_CLK_ENABLE();
  __HAL_RCC_DMA2_CLK_ENABLE();

  /* DMA interrupt init */
  /* DMA1_Channel1_IRQn interrupt configuration */
  HAL_NVIC_SetPriority(DMA1_Channel1_IRQn, 5, 0);
  HAL_NVIC_EnableIRQ(DMA1_Channel1_IRQn);
  /* DMA1_Channel2_IRQn interrupt configuration */
  HAL_NVIC_SetPriority(DMA1_Channel2_IRQn, 5, 0);
  HAL_NVIC_EnableIRQ(DMA1_Channel2_IRQn);
  /* DMA1_Channel3_IRQn interrupt configuration */
  HAL_NVIC_SetPriority(DMA1_Channel3_IRQn, 5, 0);
  HAL_NVIC_EnableIRQ(DMA1_Channel3_IRQn);
  /* DMA1_Channel6_IRQn interrupt configuration */
  HAL_NVIC_SetPriority(DMA1_Channel6_IRQn, 5, 0);
  HAL_NVIC_EnableIRQ(DMA1_Channel6_IRQn);
  /* DMA2_Channel7_IRQn interrupt configuration */
  HAL_NVIC_SetPriority(DMA2_Channel7_IRQn, 5, 0);
  HAL_NVIC_EnableIRQ(DMA2_Channel7_IRQn);

}

static void MX_GPIO_Init(void)
{
  GPIO_InitTypeDef GPIO_InitStruct = {0};

  /* GPIO Ports Clock Enable */
  __HAL_RCC_GPIOC_CLK_ENABLE();
  __HAL_RCC_GPIOH_CLK_ENABLE();
  __HAL_RCC_GPIOA_CLK_ENABLE();
  __HAL_RCC_GPIOB_CLK_ENABLE();

  /*Configure GPIO pin Output Level */
  HAL_GPIO_WritePin(GPIOB, GPIO_PIN_6, GPIO_PIN_SET);

  /*Configure GPIO pins : PA0 PA1 */
  GPIO_InitStruct.Pin = GPIO_PIN_0|GPIO_PIN_1;
  GPIO_InitStruct.Mode = GPIO_MODE_IT_FALLING;
  GPIO_InitStruct.Pull = GPIO_PULLUP;
  HAL_GPIO_Init(GPIOA, &GPIO_InitStruct);

  /*Configure GPIO pin : PB6 */
  GPIO_InitStruct.Pin = GPIO_PIN_6;
  GPIO_InitStruct.Mode = GPIO_MODE_OUTPUT_PP;
  GPIO_InitStruct.Pull = GPIO_NOPULL;
  GPIO_InitStruct.Speed = GPIO_SPEED_FREQ_MEDIUM;
  HAL_GPIO_Init(GPIOB, &GPIO_InitStruct);

  /* EXTI interrupt init*/
  HAL_NVIC_SetPriority(EXTI0_IRQn, 5, 0);
  HAL_NVIC_EnableIRQ(EXTI0_IRQn);

  HAL_NVIC_SetPriority(EXTI1_IRQn, 5, 0);
  HAL_NVIC_EnableIRQ(EXTI1_IRQn);

}

/* USER CODE BEGIN 4 */
#define MIN(a,b) ((a) < (b) ? (a) : (b))
#define MAX(a,b) ((a) > (b) ? (a) : (b))

int16_t notes[] = {
			AF3, DF4,	F4,
			EF4,	DF4,	AF3,	BF3,	C4,		DF4,
			EF4,	F4, GF4,
			F4, 	EF4, 	AF4,	AF4,
			AF4, 	BF4, 	GF4, 	F4, 	EF4, 	BF3,
			EF4, 	DF4, 	BF3, 	C4,
			DF4, 	EF4, 	F4, 	AF4, 	C5, 	BF4,
			G4,		G4,		AF4,	A4
	};

	int16_t count[] = {
			Q,	DQ,	E,
			DE,	S,	E,	E,	E,	E,
			Q,	DQ,	E,
			E,	E,	DQ,	E,
			E,	E,	E,	E,	DE,	S,
			E,	E,	DQ,	E,
			E,	E,	E,	E,	DE,	S,
			Q,	E,	Q,	E
	};

float movingAverage(float avg, float new, uint8_t numSamples)
{
	return (avg - avg/numSamples + new/numSamples);
}

int16_t getPeriod(float v, float sLength, int16_t raw_adc)
{
	// scale = 5.772727
	// Need to recalibrate the starting and end adc
	if (raw_adc < 300 || raw_adc > 2205) return 0;
	return (int16_t)( ((2*(sLength - (raw_adc/(7.816666666f)) + 51.9685f))/v) * 1000000 );
	//return (int16_t)( ((2*(sLength - raw_adc/(5.772727f)))/v) * 1000000 );
}

volatile uint16_t prevPeriod = 0;
volatile uint16_t period = 0;

void HAL_GPIO_EXTI_Callback(uint16_t GPIO_Pin)
{
  HAL_NVIC_DisableIRQ(EXTI0_IRQn);

	if (GPIO_Pin == GPIO_PIN_0)
	{
		printf(".\r\n");
	}
}

/* USER CODE END 4 */

void StartMainMenuTask(void *argument)
{
  /* USER CODE BEGIN 5 */

  /* USER CODE BEGIN StartMainMenuTask */
  /* Infinite loop */
  for(;;)
  {
  	printf("Main Menu\r\n");
    HAL_NVIC_EnableIRQ(EXTI0_IRQn);

  	/*
  	if (!HAL_GPIO_ReadPin(GPIOA, GPIO_PIN_0))
  	{
    	printf("PIN0 pressed\r\n");
  	}

  	if (!HAL_GPIO_ReadPin(GPIOA, GPIO_PIN_1))
  	{
    	printf("PIN1 pressed\r\n");
  	}
		*/

  	osDelay(250);

  	/*
  	printf("ADC0: %lu\r\n", adcValue[0]);
  	printf("ADC1: %lu\r\n", adcValue[1]);
  	//printf("ADC2: %lu\r\n", adcValue[2]);
  	//printf("ADC3: %lu\r\n", adcValue[3]);

		htim1.Instance->ARR = ((adcValue[0] > 15) ? adcValue[0] * 16 : 1);
		htim1.Instance->CCR1 = htim1.Instance->ARR/2;

		htim15.Instance->ARR = ((adcValue[1] > 15) ? adcValue[1] * 16 : 1);
		htim15.Instance->CCR1 = htim15.Instance->ARR/2;

  	//osDelay(100);
		*/

    //WS2812B_vSetLED(&xWS2812B, 0, 255, 0, 0);
    //WS2812B_vSetLED(&xWS2812B, 1, 0, 255, 0);
    //WS2812B_vSetLED(&xWS2812B, 2, 0, 0, 255);
    //WS2812B_vSetLED(&xWS2812B, 3, 0, 0, 255);

    WS2812B_vSetLED(&xWS2812B, 0, 0, 0, 255);
    /*
    WS2812B_vSetLED(&xWS2812B, 1, 0, 255, 0);
    WS2812B_vSetLED(&xWS2812B, 2, 255, 0, 0);
    WS2812B_vSetLED(&xWS2812B, 3, 255, 0, 0);
    WS2812B_vSetLED(&xWS2812B, 4, 255, 0, 0);
    WS2812B_vSetLED(&xWS2812B, 5, 255, 0, 0);
    WS2812B_vSetLED(&xWS2812B, 6, 255, 0, 0);
    WS2812B_vSetLED(&xWS2812B, 7, 255, 0, 0);
		*/

    WS2812B_vSetBrightness(&xWS2812B, 1);
    WS2812B_vSend(&xWS2812B);
    WS2812B_vResetLEDs(&xWS2812B);
  	osDelay(250);

    WS2812B_vSetLED(&xWS2812B, 0, 255, 0, 0);
    /*
    WS2812B_vSetLED(&xWS2812B, 1, 0, 255, 255);
    WS2812B_vSetLED(&xWS2812B, 2, 255, 0, 0);
    WS2812B_vSetLED(&xWS2812B, 3, 255, 0, 0);
    WS2812B_vSetLED(&xWS2812B, 4, 255, 0, 0);
    WS2812B_vSetLED(&xWS2812B, 5, 255, 0, 0);
    WS2812B_vSetLED(&xWS2812B, 6, 255, 0, 0);
    WS2812B_vSetLED(&xWS2812B, 7, 255, 0, 0);
		*/

    WS2812B_vSetBrightness(&xWS2812B, 1);
    WS2812B_vSend(&xWS2812B);
    WS2812B_vResetLEDs(&xWS2812B);

  		/*
      WS2812B_vSetLED(&xWS2812B, 0, 255, 0, 0);
      WS2812B_vSetLED(&xWS2812B, 1, 0, 255, 0);
      WS2812B_vSetLED(&xWS2812B, 2, 0, 0, 255);
      WS2812B_vSetLED(&xWS2812B, 31, 0, 0, 255);

      WS2812B_vSetBrightness(&xWS2812B, 1);
      WS2812B_vSend(&xWS2812B);
      WS2812B_vResetLEDs(&xWS2812B);

  		osDelay(1000);

      WS2812B_vResetLEDs(&xWS2812B);

  		WS2812B_vSetLED(&xWS2812B, 0, 12, 52, 64);
  		WS2812B_vSetLED(&xWS2812B, 1, 4, 235, 145);
  		WS2812B_vSetLED(&xWS2812B, 2, 120, 120, 25);
      WS2812B_vSetLED(&xWS2812B, 30, 120, 29, 0);

  		WS2812B_vSetBrightness(&xWS2812B, 1);
  		WS2812B_vSend(&xWS2812B);
      WS2812B_vResetLEDs(&xWS2812B);

      osDelay(1000);

      printf("%lu\r\n", WS2812B_ARR);
      printf("%lu\r\n", WS2812B_T0H_TICKS);
      printf("%lu\r\n", WS2812B_T0L_TICKS);
      printf("%lu\r\n", WS2812B_T1H_TICKS);
      printf("%lu\r\n", WS2812B_T1L_TICKS);
      */

  	/*
    printf("Reading song\r\n");

    // Mount
		fres = f_mount(&fs, "", 0);
		if (fres == FR_OK) {
			transmit_uart("Micro SD card is mounted successfully!\n");
		} else if (fres != FR_OK) {
			transmit_uart("Micro SD card's mount error!\n");
		}

		//fres = f_open(&fil, "glazunov_violin_concerto.piece", FA_READ);
		//fres = f_open(&fil, "glazunov.txt", FA_READ);
		fres = f_open(&fil, "test2.bin", FA_READ);
		if (fres == FR_OK) {
			transmit_uart("File opened for reading.\n");
		} else if (fres != FR_OK) {
			transmit_uart("File was not opened for reading!\n");
		}

		Piece_vInit(&xPiece, &fil);
		Piece_vSetComposition(&xPiece, &fil);

		// Close file
		fres = f_close(&fil);
		if (fres == FR_OK) {
			transmit_uart("The file is closed.\n");
		} else if (fres != FR_OK) {
			transmit_uart("The file was not closed.\n");
		}

		f_mount(NULL, "", 1);
		if (fres == FR_OK) {
			transmit_uart("The Micro SD card is unmounted!\n");
		} else if (fres != FR_OK) {
			transmit_uart("The Micro SD was not unmounted!");
		}

		// Initial Command
	  HAL_TIM_PWM_Start_IT(&htim1, TIM_CHANNEL_1);
	  HAL_TIM_PWM_Start_IT(&htim15, TIM_CHANNEL_1);
	  HAL_TIM_PWM_Start_IT(&htim16, TIM_CHANNEL_1);
	  HAL_TIM_PWM_Start_IT(&htim17, TIM_CHANNEL_1);

	  //HAL_TIM_PWM_Start_IT(&htim1, TIM_CHANNEL_2);

		xSynchWakeTime = xTaskGetTickCount();
		osEventFlagsSet(xEmbeddedViolinEventGroupHandle, (EB_PLAY_TICK | EB_PLAY_STATE));

		// WAIT EVENT SYNCHRONIZE?

    osDelay(7000000000);
		*/

  }
  /* USER CODE END StartMainMenuTask */
  /* USER CODE END 5 */
}

void StartPlayTickTask(void *argument)
{
  /* USER CODE BEGIN StartPlayTickTask */
	uint32_t xEventGroupValue;
	static const int32_t xBitsToWaitFor = (EB_PLAY_TICK);
	static const TickType_t xFrequency = pdMS_TO_TICKS(50);
  /* Infinite loop */
	for(;;)
  {
		// wait for a semaphore
		xEventGroupValue = osEventFlagsWait(xEmbeddedViolinEventGroupHandle, xBitsToWaitFor, osFlagsWaitAny, 1000);

		if ((xEventGroupValue & EB_ERROR) == 0 && (xEventGroupValue & EB_PLAY_TICK) != 0)
		{
			while (running)
			{
				printf("Capture Tick\r\n");
		    vTaskDelayUntil(&xSynchWakeTime, xFrequency);
			}
		}
  }
  /* USER CODE END StartPlayTickTask */
}

void StartPlayState(void *argument)
{
  /* USER CODE BEGIN StartPlayState */
	uint32_t xEventGroupValue;
	static const int32_t xBitsToWaitFor = (EB_PLAY_STATE);
  /* Infinite loop */
  for(;;)
  {
  	xEventGroupValue = osEventFlagsWait(xEmbeddedViolinEventGroupHandle, xBitsToWaitFor, osFlagsWaitAny, 1000);
		if ((xEventGroupValue & EB_ERROR) == 0 && (xEventGroupValue & EB_PLAY_STATE) != 0)
		{
			Piece_vParseCommand(&xPiece);
		}
  }
  /* USER CODE END StartPlayState */
}

 /**
  * @brief  Period elapsed callback in non blocking mode
  * @note   This function is called  when TIM6 interrupt took place, inside
  * HAL_TIM_IRQHandler(). It makes a direct call to HAL_IncTick() to increment
  * a global variable "uwTick" used as application time base.
  * @param  htim : TIM handle
  * @retval None
  */
void HAL_TIM_PeriodElapsedCallback(TIM_HandleTypeDef *htim)
{
  if (htim->Instance == TIM6) {
    HAL_IncTick();
  }
}

void Error_Handler(void)
{
  __disable_irq();
  while (1)
  {
  }
}

/************************ (C) COPYRIGHT STMicroelectronics *****END OF FILE****/
